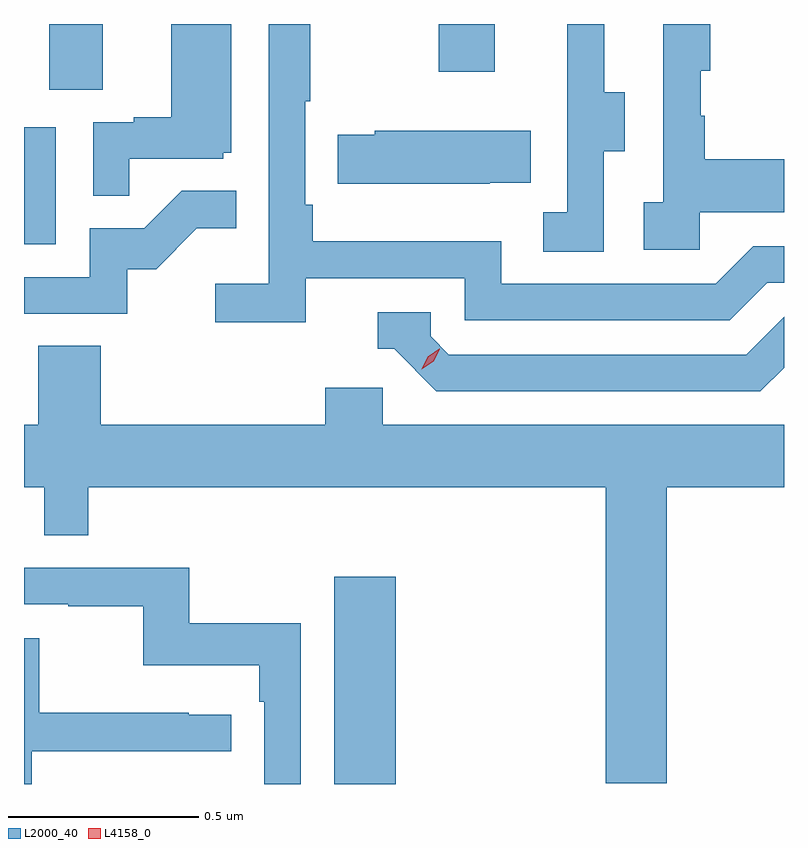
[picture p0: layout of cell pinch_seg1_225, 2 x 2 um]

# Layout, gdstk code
import gdstk
lib = gdstk.Library(unit=1e-6, precision=1e-09)
def R(c, l, rs):  # rectangles x0, y0, x1, y1
    for r in rs: c.add(gdstk.rectangle(r[:2], r[2:], *l))
def P(c, l, *ps):  # polygons
    for p in ps: c.add(gdstk.Polygon(p, *l))
L2000_40 = (2000, 40)
L4158_0 = (4158, 0)

pinch_seg1_225 = lib.new_cell('pinch_seg1_225')
R(pinch_seg1_225, L2000_40, [(999.161,569.599,999.322,570.145), (998.344,571.02,998.428,571.327), (998.411,571.426,998.551,571.599), (999.436,571.473,999.583,571.599)])
P(pinch_seg1_225, L2000_40, [(1000.122,571.103),(1000.344,571.103),(1000.344,571.243),(1000.135,571.243),(1000.135,571.358),(1000.125,571.358),(1000.125,571.476),(1000.15,571.476),(1000.15,571.599),(1000.026,571.599),(1000.026,571.13),(999.975,571.13),(999.975,571.005),(1000.122,571.005)],
  [(999.086,570.93),(999.504,570.93),(999.504,570.819),(1000.201,570.819),(1000.3,570.918),(1000.344,570.918),(1000.344,571.014),(1000.263,571.014),(1000.164,570.915),(999.6,570.915),(999.6,571.027),(999.104,571.027),(999.104,571.123),(999.084,571.123),(999.084,571.396),(999.097,571.396),(999.097,571.599),(998.988,571.599),(998.988,570.916),(998.847,570.916),(998.847,570.814),(999.086,570.814)],
  [(998.621,571.245),(998.868,571.245),(998.868,571.26),(998.89,571.26),(998.89,571.599),(998.732,571.599),(998.732,571.354),(998.633,571.354),(998.633,571.341),(998.526,571.341),(998.526,571.147),(998.621,571.147)],
  [(999.87,571.264),(999.925,571.264),(999.925,571.419),(999.871,571.419),(999.871,571.599),(999.773,571.599),(999.773,571.407),(999.774,571.407),(999.774,571.103),(999.711,571.103),(999.711,571),(999.87,571)],
  [(999.569,571.181),(999.677,571.181),(999.677,571.318),(999.267,571.318),(999.267,571.308),(999.169,571.308),(999.169,571.178),(999.569,571.178)],
  [(998.616,570.954),(998.692,570.954),(998.799,571.061),(998.903,571.061),(998.903,571.16),(998.759,571.16),(998.661,571.062),(998.517,571.062),(998.517,570.933),(998.344,570.933),(998.344,570.837),(998.616,570.837)],
  [(1000.344,570.695),(1000.344,570.828),(1000.245,570.729),(999.462,570.729),(999.414,570.777),(999.414,570.84),(999.275,570.84),(999.275,570.744),(999.318,570.744),(999.429,570.633),(1000.282,570.633)],
  [(1000.035,570.38),(1000.344,570.38),(1000.344,570.544),(999.288,570.544),(999.288,570.642),(999.137,570.642),(999.137,570.544),(998.546,570.544),(998.546,570.752),(998.381,570.752),(998.381,570.544),(998.344,570.544),(998.344,570.38),(998.397,570.38),(998.397,570.253),(998.513,570.253),(998.513,570.38),(999.875,570.38),(999.875,569.601),(1000.035,569.601)],
  [(999.072,570.022),(998.779,570.022),(998.779,570.168),(998.344,570.168),(998.344,570.072),(998.461,570.072),(998.461,570.067),(998.658,570.067),(998.658,569.912),(998.963,569.912),(998.963,569.816),(998.976,569.816),(998.976,569.599),(999.072,569.599)],
  [(998.364,569.685),(998.89,569.685),(998.89,569.781),(998.777,569.781),(998.777,569.786),(998.384,569.786),(998.384,569.982),(998.344,569.982),(998.344,569.599),(998.364,569.599)])
P(pinch_seg1_225, L4158_0, [(999.391,570.691),(999.391,570.691),(999.407,570.724),(999.437,570.744),(999.438,570.744),(999.438,570.743),(999.422,570.711),(999.391,570.691)])

lib.write_gds('pinch_seg1_225.gds')
